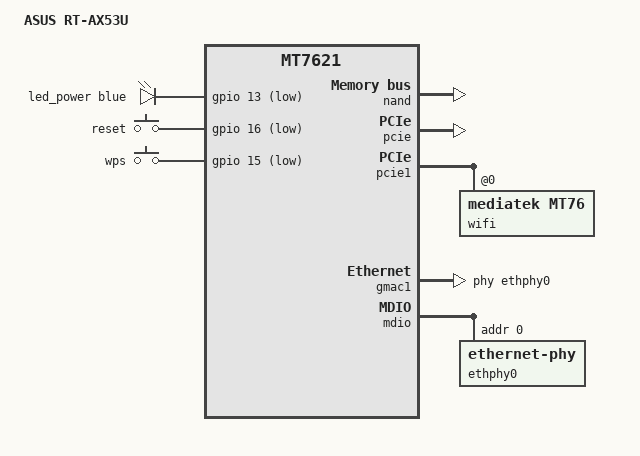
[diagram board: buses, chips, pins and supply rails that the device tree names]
// SPDX-License-Identifier: GPL-2.0-or-later OR MIT

#include "mt7621.dtsi"

#include <dt-bindings/gpio/gpio.h>
#include <dt-bindings/input/input.h>
#include <dt-bindings/leds/common.h>

/ {
	compatible = "asus,rt-ax53u", "mediatek,mt7621-soc";
	model = "ASUS RT-AX53U";

	aliases {
		led-boot = &led_power;
		led-failsafe = &led_power;
		led-running = &led_power;
		led-upgrade = &led_power;
		label-mac-device = &gmac0;
	};

	chosen {
		bootargs = "console=ttyS0,115200";
		bootargs-override = "console=ttyS0,115200";
	};

	leds {
		compatible = "gpio-leds";

		led_power: led-0 {
			color = <LED_COLOR_ID_BLUE>;
                        function = LED_FUNCTION_POWER;
			gpios = <&gpio 13 GPIO_ACTIVE_LOW>;
		};
	};

	keys {
		compatible = "gpio-keys";

		key-restart {
			label = "reset";
			gpios = <&gpio 16 GPIO_ACTIVE_LOW>;
			linux,code = <KEY_RESTART>;
		};

		key-wps {
			label = "wps";
			gpios = <&gpio 15 GPIO_ACTIVE_LOW>;
			linux,code = <KEY_WPS_BUTTON>;
		};
	};
};

&nand {
	status = "okay";

	partitions {
		compatible = "fixed-partitions";
		#address-cells = <1>;
		#size-cells = <1>;

		partition@0 {
			label = "u-boot";
			reg = <0x0 0xe0000>;
			read-only;
		};

		partition@e0000 {
			label = "u-boot-env";
			reg = <0xe0000 0x100000>;
			read-only;
		};

		factory: partition@1e0000 {
			label = "factory";
			reg = <0x1e0000 0x100000>;
			read-only;

			compatible = "nvmem-cells";
			#address-cells = <1>;
			#size-cells = <1>;

			macaddr_factory_4: macaddr@4 {
				reg = <0x4 0x6>;
			};
		};

		factory2: partition@2e0000 {
			label = "factory2";
			reg = <0x2e0000 0x100000>;
			read-only;
		};

		partition@3e0000 {
			label = "kernel";
			reg = <0x3e0000 0x400000>;
		};

		partition@7e0000 {
			label = "ubi";
			reg = <0x7e0000 0x2e00000>;
		};

		partition@35e0000 {
			label = "firmware2";
			reg = <0x35e0000 0x3200000>;
		};

		/* Last 8M possibly store the bad block table */
	};
};

&pcie {
	status = "okay";
};

&pcie1 {
	wifi@0,0 {
		compatible = "mediatek,mt76";
		reg = <0x0000 0 0 0 0>;
		mediatek,mtd-eeprom = <&factory 0x0000>;
		mediatek,disable-radar-background;
	};
};

&gmac0 {
	nvmem-cells = <&macaddr_factory_4>;
	nvmem-cell-names = "mac-address";
};

&gmac1 {
	status = "okay";
	label = "wan";
	phy-handle = <&ethphy0>;

	nvmem-cells = <&macaddr_factory_4>;
	nvmem-cell-names = "mac-address";
};

&mdio {
	ethphy0: ethernet-phy@0 {
		reg = <0>;
	};
};

&switch0 {
	ports {
		port@1 {
			status = "okay";
			label = "lan1";
		};

		port@2 {
			status = "okay";
			label = "lan2";
		};

		port@3 {
			status = "okay";
			label = "lan3";
		};
	};
};

&state_default {
	gpio {
		groups = "i2c", "uart2", "uart3", "jtag", "wdt";
		function = "gpio";
	};
};

